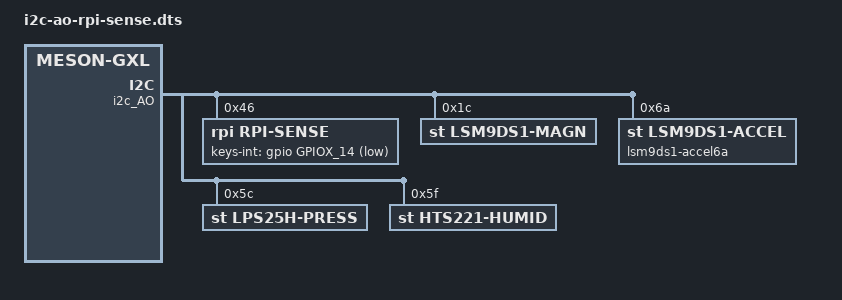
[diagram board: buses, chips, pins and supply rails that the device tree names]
// SPDX-License-Identifier: (GPL-2.0-or-later OR MIT)
/*
 * Copyright (c) 2017 BayLibre, SAS.
 * Author: Neil Armstrong <narmstrong@baylibre.com>
 */
/*
 * Overlay aimed to add support for the Raspberry Pi Sense Hat
 */

/dts-v1/;
/plugin/;

#include <dt-bindings/gpio/gpio.h>
#include <dt-bindings/gpio/meson-gxl-gpio.h>

/ {
	compatible = "libre-computer,aml-s905x-cc",
		"libretech,aml-s905x-cc",
		"libre-computer,aml-s905x-cc-v2",
		"libretech,aml-s905x-cc-v2",
		"amlogic,s905x",
		"amlogic,meson-gxl";

	fragment@1 {
		target = <&i2c_AO>;
		
		__overlay__ {
			rpi-sense@46 {
				compatible = "rpi,rpi-sense";
				reg = <0x46>;
				keys-int-gpios = <&gpio GPIOX_14 GPIO_ACTIVE_LOW>;
				status = "okay";
			};

			lsm9ds1-magn@1c {
				compatible = "st,lsm9ds1-magn";
				reg = <0x1c>;
				status = "okay";
			};

			lsm9ds1-accel6a {
				compatible = "st,lsm9ds1-accel";
				reg = <0x6a>;
				status = "okay";
			};

			lps25h-press@5c {
				compatible = "st,lps25h-press";
				reg = <0x5c>;
				status = "okay";
			};

			hts221-humid@5f {
				compatible = "st,hts221-humid";
				reg = <0x5f>;
				status = "okay";
			};
		};
	};
};
